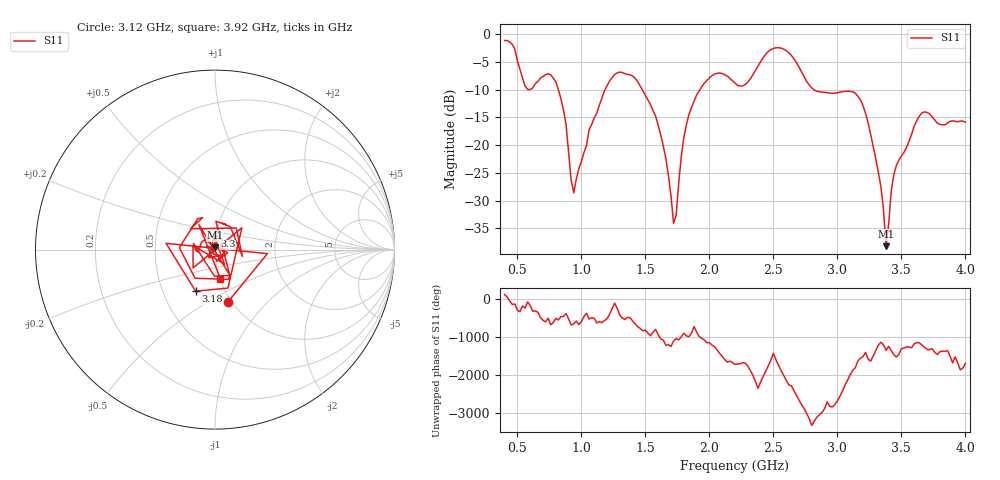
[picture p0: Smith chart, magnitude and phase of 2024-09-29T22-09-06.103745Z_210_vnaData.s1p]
!Created with skrf (http://scikit-rf.org).
# Hz S RI R 50.0
!freq ReS11 ImS11
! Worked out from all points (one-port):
!   181 points, 400 MHz to 4 GHz, reference 50 ohm
!   lowest |S11| = -38.2 dB at 3.38 GHz (marker M1), VSWR 1.02, Z = 49.9 + j1.23 ohm
!   |S11| at or under -10 dB: 819.6 MHz to 1.185 GHz (365.5 MHz wide, 36.5 % of centre); 1.475 GHz to 1.927 GHz (451.9 MHz wide, 26.6 % of centre); 2.815 GHz to end of sweep (the widest 3 of 4)
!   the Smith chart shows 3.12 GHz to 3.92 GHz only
!   S11 on the Smith chart (normalised r, x): 3.12 GHz: 0.96, -0.62; 3.18 GHz: 0.73, -0.36; 3.3 GHz: 0.98, +0.15; 3.92 GHz: 1.01, -0.33
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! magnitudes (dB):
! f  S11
! 400 MHz  -1.2
! 580 MHz  -10.0
! 760 MHz  -7.3
! 860 MHz  -13.7
! 940 MHz  -28.6
! 1.06 GHz  -17.2
! 1.3 GHz  -6.9
! 1.58 GHz  -14.8
! 1.66 GHz  -22.4
! 1.72 GHz  -34.1
! 1.76 GHz  -26.9
! 1.82 GHz  -16.3
! 1.9 GHz  -11.0
! 2.2 GHz  -8.8
! 2.5 GHz  -2.6
! 2.66 GHz  -4.5
! 2.82 GHz  -10.1
! 3.1 GHz  -10.3
! 3.12 GHz  -10.4
! 3.18 GHz  -11.9
! 3.3 GHz  -22.5
! 3.34 GHz  -27.5
! 3.38 GHz  -38.2
! 3.44 GHz  -25.4
! 3.56 GHz  -19.3
! 3.66 GHz  -14.2
! 3.92 GHz  -15.7
! 4 GHz  -15.9
